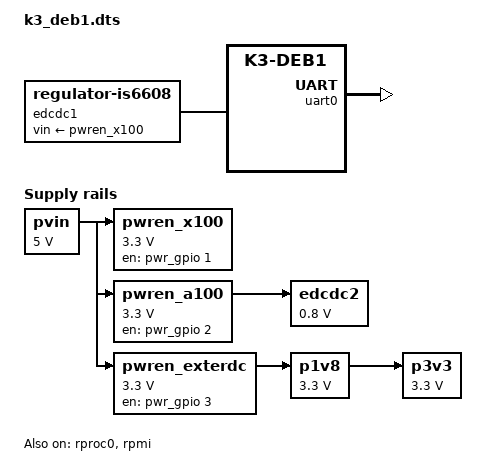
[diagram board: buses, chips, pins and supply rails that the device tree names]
/*
 * Copyright (c) 2022-2025, Spacemit
 *
 * SPDX-License-Identifier: Apache-2.0
 */

/dts-v1/;

#include "k3.dtsi"
#include "k3-pinctrl.h"

&gpio {
	/*gpio-ranges = <&pinctrl 49  GPIO_49  2>;*/
	status = "okay";
};

&r_gpio {
	status = "okay";
};

&uart0 {
	pinctrl-names = "default";
	status = "okay";
//	pinctrl-0 = <&ruart0_0_cfg>;
};

&mailbox3 {
	status = "okay";
};

&mailbox4 {
	status = "disabled";
};

&mailbox5 {
	status = "disabled";
};

&mailbox6 {
	status = "disabled";
};

&mailbox7 {
	status = "disabled";
};

&rproc0 {
	status = "okay";
	mboxes = <&mailbox3 1>, <&mailbox3 2>;
};

&rpmi {
	status = "okay";
	mboxes = <&mailbox3 0>;
};

&aliases {
	regulator-fixed0 = <&pvin>;
	regulator-fixed1 = <&p3v3>;
	regulator-fixed2 = <&p1v8>;
	regulator-fixed3 = <&pwren_x100>;
	regulator-fixed4 = <&pwren_a100>;
	regulator-fixed5 = <&pwren_exterdc>;
	regulator-fixed6 = <&edcdc2>;

	regulator-dynamic0 = <&edcdc1>;
	regulator-dynamic1 = <&dcdc1>;
	regulator-dynamic2 = <&dcdc_3>;
	regulator-dynamic3 = <&dcdc_4>;
	regulator-dynamic4 = <&dcdc_5>;
	regulator-dynamic5 = <&dcdc_6>;
	regulator-dynamic6 = <&aldo_1>;
	regulator-dynamic7 = <&aldo_2>;
	regulator-dynamic8 = <&aldo_3>;
	regulator-dynamic9 = <&aldo_4>;
	regulator-dynamic10 = <&dldo_1>;
	regulator-dynamic11 = <&dldo_2>;
	regulator-dynamic12 = <&dldo_3>;
	regulator-dynamic13 = <&dldo_4>;
	regulator-dynamic14 = <&dldo_5>;
	regulator-dynamic15 = <&dldo_6>;
	regulator-dynamic16 = <&dldo_7>;
};

&rpmi_voltage0 {
	pvin-supply = <&pvin>;
	edcdc2-supply = <&edcdc2>;
	edcdc1-supply = <&edcdc1>;
	p3v3-supply = <&p3v3>;
	p1v8-supply = <&p1v8>;
	dcdc1-supply = <&dcdc1>;
	dcdc3-supply = <&dcdc_3>;
	dcdc4-supply = <&dcdc_4>;
	dcdc5-supply = <&dcdc_5>;
	dcdc6-supply = <&dcdc_6>;
	ldo1-supply = <&aldo_1>;
	ldo2-supply = <&aldo_2>;
	ldo3-supply = <&aldo_3>;
	ldo4-supply = <&aldo_4>;
	ldo5-supply = <&dldo_1>;
	ldo6-supply = <&dldo_2>;
	ldo7-supply = <&dldo_3>;
	ldo8-supply = <&dldo_4>;
	ldo9-supply = <&dldo_5>;
	ldo10-supply = <&dldo_6>;
	ldo11-supply = <&dldo_7>;
	pwr_x100-supply = <&pwren_x100>;
	pwr_a100-supply = <&pwren_a100>;
	pwr_ext-supply = <&pwren_exterdc>;
};

&regulators {
	pvin: pvin {
		compatible = "regulator-fixed";
		regulator-name = "pvin";
		regulator-boot-on;
		regulator-min-microvolt = <5000000>;
		regulator-max-microvolt = <5000000>;
		index = <0>;
	};

	/* a100 */
	edcdc2: edcdc2 {
		compatible = "regulator-fixed";
		regulator-name = "edcdc2";
		regulator-min-microvolt = <800000>;
		regulator-max-microvolt = <800000>;
		vin-supply = <&pwren_a100>;
		index = <22>;
	};

	/* x100 */
	edcdc1: edcdc1 {
		bind_driver = "ri2c2";
		slave_addr = <0x30>;
		compatible = "regulator-is6608";
		regulator-name = "edcdc1";
		regulator-min-microvolt = <500000>;
		regulator-max-microvolt = <3450000>;
		vin-supply = <&pwren_x100>;
		index = <23>;
	};

	/* 3v3 */
	p3v3: p3v3 {
		compatible = "regulator-fixed";
		regulator-name = "p3v3";
		regulator-min-microvolt = <3300000>;
		regulator-max-microvolt = <3300000>;
		vin-supply = <&p1v8>;
		index = <3>;
	};

	/* 1v8 */
	p1v8: p1v8 {
		compatible = "regulator-fixed";
		regulator-name = "p1v8";
		regulator-min-microvolt = <3300000>;
		regulator-max-microvolt = <3300000>;
		vin-supply = <&pwren_exterdc>;
		index = <2>;
	};

	p1: p1 {
		compatible = "p1-regulator", "regulator-dynamic";
		bind_driver = "ri2c2";
		slave_addr = <0x41>;
		num_regulators = <19>;

		dcdc1: DCDC_REG12 {
			compatible = "regulator-dynamic";
			regulator-name = "dcdc1";
			regulator-min-microvolt = <500000>;
			regulator-max-microvolt = <3450000>;
			regulator-ramp-delay = <5000>;
			vin-supply = <&pvin>;
			index = <6>;
		};

		dcdc_3: DCDC_REG3 {
			compatible = "regulator-dynamic";
                        regulator-name = "dcdc3";
                        regulator-min-microvolt = <500000>;
                        regulator-max-microvolt = <1800000>;
                        regulator-ramp-delay = <5000>;
			vin-supply = <&pvin>;
			index = <7>;
		};

		dcdc_4: DCDC_REG4 {
			compatible = "regulator-dynamic";
                        regulator-name = "dcdc4";
                        regulator-min-microvolt = <500000>;
                        regulator-max-microvolt = <3300000>;
                        regulator-ramp-delay = <5000>;
			vin-supply = <&pvin>;
			index = <8>;
		};

		dcdc_5: DCDC_REG5 {
			compatible = "regulator-dynamic";
                        regulator-name = "dcdc5";
                        regulator-min-microvolt = <500000>;
                        regulator-max-microvolt = <3450000>;
                        regulator-ramp-delay = <5000>;
			vin-supply = <&pvin>;
			index = <9>;
		};

		dcdc_6: DCDC_REG6 {
			compatible = "regulator-dynamic";
                        regulator-name = "dcdc6";
                        regulator-min-microvolt = <500000>;
                        regulator-max-microvolt = <3450000>;
                        regulator-ramp-delay = <5000>;
			vin-supply = <&pvin>;
			index = <10>;
		};

		/* aldo */
		aldo_1: LDO_REG1 {
			compatible = "regulator-dynamic";
                        regulator-name = "aldo1";
                        regulator-min-microvolt = <500000>;
                        regulator-max-microvolt = <3400000>;
			vin-supply = <&pvin>;
			index = <11>;
		};

		aldo_2: LDO_REG2 {
			compatible = "regulator-dynamic";
                        regulator-name = "aldo2";
                        regulator-min-microvolt = <500000>;
                        regulator-max-microvolt = <3400000>;
			vin-supply = <&pvin>;
			index = <12>;
		};

		aldo_3: LDO_REG3 {
			compatible = "regulator-dynamic";
                        regulator-name = "aldo3";
                        regulator-min-microvolt = <500000>;
                        regulator-max-microvolt = <3400000>;
			vin-supply = <&pvin>;
			index = <13>;
		};

		aldo_4: LDO_REG4 {
			compatible = "regulator-dynamic";
                        regulator-name = "aldo4";
                        regulator-min-microvolt = <500000>;
                        regulator-max-microvolt = <3400000>;
			vin-supply = <&pvin>;
			index = <14>;
		};

		/* dldo */
		dldo_1: LDO_REG5 {
			compatible = "regulator-dynamic";
                        regulator-name = "dldo1";
                        regulator-min-microvolt = <500000>;
                        regulator-max-microvolt = <3400000>;
			vin-supply = <&pvin>;
			index = <15>;
		};

		dldo_2: LDO_REG6 {
			compatible = "regulator-dynamic";
                        regulator-name = "dldo2";
                        regulator-min-microvolt = <500000>;
                        regulator-max-microvolt = <3400000>;
			vin-supply = <&pvin>;
			index = <16>;
		};

		dldo_3: LDO_REG7 {
			compatible = "regulator-dynamic";
                        regulator-name = "dldo3";
                        regulator-min-microvolt = <500000>;
                        regulator-max-microvolt = <3400000>;
			vin-supply = <&pvin>;
			index = <17>;
		};

		dldo_4: LDO_REG8 {
			compatible = "regulator-dynamic";
                        regulator-name = "dldo4";
                        regulator-min-microvolt = <500000>;
                        regulator-max-microvolt = <3400000>;
			vin-supply = <&pvin>;
			index = <18>;
		};

		dldo_5: LDO_REG9 {
			compatible = "regulator-dynamic";
                        regulator-name = "dldo5";
                        regulator-min-microvolt = <500000>;
                        regulator-max-microvolt = <3400000>;
			vin-supply = <&pvin>;
			index = <19>;
		};

		dldo_6: LDO_REG10 {
			compatible = "regulator-dynamic";
                        regulator-name = "dldo6";
                        regulator-min-microvolt = <500000>;
                        regulator-max-microvolt = <3400000>;
			vin-supply = <&pvin>;
			index = <20>;
		};

		dldo_7: LDO_REG11 {
			compatible = "regulator-dynamic";
                        regulator-name = "dldo7";
                        regulator-min-microvolt = <500000>;
                        regulator-max-microvolt = <3400000>;
			vin-supply = <&pvin>;
			index = <21>;
		};

		pwren_x100: pwren_x100 {
			compatible = "regulator-fixed";
			regulator-name = "pwr_x100";
			regulator-min-microvolt = <3300000>;
			regulator-max-microvolt = <3300000>;
			enable-active-high = <1>;
			enable-gpios = <&pwr_gpio 1 0>;
			vin-supply = <&pvin>;
			index = <4>;
		};

		pwren_a100: pwren_a100 {
			compatible = "regulator-fixed";
			regulator-name = "pwr_a100";
			regulator-min-microvolt = <3300000>;
			regulator-max-microvolt = <3300000>;
			enable-active-high = <1>;
			vin-supply = <&pvin>;
			enable-gpios = <&pwr_gpio 2 0>;
			index = <5>;
		};

		pwren_exterdc: pwren_extdc {
			compatible = "regulator-fixed";
			regulator-name = "pwr_ext";
			regulator-min-microvolt = <3300000>;
			regulator-max-microvolt = <3300000>;
			enable-active-high = <1>;
			vin-supply = <&pvin>;
			enable-gpios = <&pwr_gpio 3 0>;
			index = <1>;
		};
	};
};

&rcpu_comm {
	mboxes = <&mailbox7 0>, <&mailbox7 1>;
	mbox-names = "tx_test", "rx_test";
	master = <1>;
};
